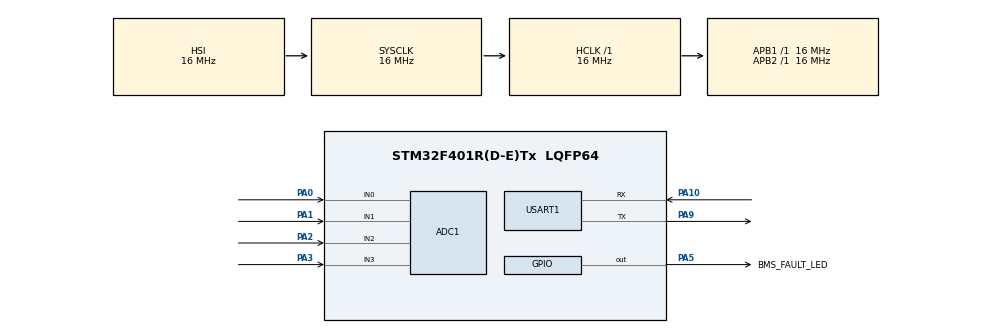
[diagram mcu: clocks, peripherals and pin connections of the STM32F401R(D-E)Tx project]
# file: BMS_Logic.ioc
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ADC1.Channel-1\#ChannelRegularConversion=ADC_CHANNEL_0
ADC1.Channel-2\#ChannelInjectedConversion=ADC_CHANNEL_0
ADC1.Channel-3\#ChannelInjectedConversion=ADC_CHANNEL_0
ADC1.Channel-4\#ChannelInjectedConversion=ADC_CHANNEL_0
ADC1.Channel-5\#ChannelInjectedConversion=ADC_CHANNEL_0
ADC1.ContinuousConvMode=ENABLE
ADC1.EnableAnalogWatchDog=true
ADC1.InjNumberOfConversion=4
ADC1.InjectedOffset-2\#ChannelInjectedConversion=0
ADC1.InjectedOffset-3\#ChannelInjectedConversion=0
ADC1.InjectedOffset-4\#ChannelInjectedConversion=0
ADC1.InjectedOffset-5\#ChannelInjectedConversion=0
ADC1.InjectedRank-2\#ChannelInjectedConversion=1
ADC1.InjectedRank-3\#ChannelInjectedConversion=2
ADC1.InjectedRank-4\#ChannelInjectedConversion=3
ADC1.InjectedRank-5\#ChannelInjectedConversion=4
ADC1.NbrOfConversionFlag=1
ADC1.Rank-1\#ChannelRegularConversion=1
ADC1.SamplingTime-1\#ChannelRegularConversion=ADC_SAMPLETIME_3CYCLES
ADC1.SamplingTime-2\#ChannelInjectedConversion=ADC_SAMPLETIME_3CYCLES
ADC1.SamplingTime-3\#ChannelInjectedConversion=ADC_SAMPLETIME_3CYCLES
ADC1.SamplingTime-4\#ChannelInjectedConversion=ADC_SAMPLETIME_3CYCLES
ADC1.SamplingTime-5\#ChannelInjectedConversion=ADC_SAMPLETIME_3CYCLES
ADC1.master=1
Dma.ADC1.0.Direction=DMA_PERIPH_TO_MEMORY
Dma.ADC1.0.FIFOMode=DMA_FIFOMODE_DISABLE
Dma.ADC1.0.Instance=DMA2_Stream0
Dma.ADC1.0.MemDataAlignment=DMA_MDATAALIGN_HALFWORD
Dma.ADC1.0.MemInc=DMA_MINC_ENABLE
Dma.ADC1.0.Mode=DMA_CIRCULAR
Dma.ADC1.0.PeriphDataAlignment=DMA_PDATAALIGN_HALFWORD
Dma.ADC1.0.PeriphInc=DMA_PINC_DISABLE
Dma.ADC1.0.Priority=DMA_PRIORITY_LOW
Dma.Request0=ADC1
Mcu.Family=STM32F4
Mcu.Name=STM32F401R(D-E)Tx
Mcu.Package=LQFP64
NVIC.DMA2_Stream0_IRQn=true\:0\:0\:false\:false\:true\:false\:true\:true
NVIC.PriorityGroup=NVIC_PRIORITYGROUP_4
NVIC.USART1_IRQn=true\:0\:0\:false\:false\:true\:true\:true\:true
PA0-WKUP.Signal=ADCx_IN0
PA1.Signal=ADCx_IN1
PA10.Mode=Asynchronous
PA10.Signal=USART1_RX
PA2.Signal=ADCx_IN2
PA3.Signal=ADCx_IN3
PA5.GPIO_Label=BMS_FAULT_LED
PA5.Signal=GPIO_Output
PA9.Mode=Asynchronous
PA9.Signal=USART1_TX
ProjectManager.HeapSize=0x200
ProjectManager.StackSize=0x400
ProjectManager.TargetToolchain=STM32CubeIDE
RCC.AHBFreq_Value=16000000
RCC.APB1Freq_Value=16000000
RCC.APB2Freq_Value=16000000
RCC.CortexFreq_Value=16000000
RCC.HSE_VALUE=25000000
RCC.HSI_VALUE=16000000
RCC.LSE_VALUE=32768
RCC.SYSCLKFreq_VALUE=16000000
RCC.VCOOutputFreq_Value=192000000
SH.ADCx_IN0.0=ADC1_IN0,IN0
SH.ADCx_IN1.0=ADC1_IN1,IN1
SH.ADCx_IN2.0=ADC1_IN2,IN2
SH.ADCx_IN3.0=ADC1_IN3,IN3
USART1.VirtualMode=VM_ASYNC
board=custom

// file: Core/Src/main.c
/* USER CODE BEGIN Header */
/**
  ******************************************************************************
  * @file           : main.c
  * @brief          : Main program body
  ******************************************************************************
  * @attention
  *
  * Copyright (c) 2026 STMicroelectronics.
  * All rights reserved.
  *
  * This software is licensed under terms that can be found in the LICENSE file
  * in the root directory of this software component.
  * If no LICENSE file comes with this software, it is provided AS-IS.
  *
  ******************************************************************************
  */
/* USER CODE END Header */
#include "main.h"
#include <stdio.h>

ADC_HandleTypeDef hadc1;
DMA_HandleTypeDef hdma_adc1;

UART_HandleTypeDef huart1;

/* USER CODE BEGIN PV */
uint16_t adc_buffer[4];              // Latest raw data from DMA
uint16_t filter_buffer[4][8];        // History: 4 cells, 8 samples each
uint32_t cell_sums[4] = {0};         // Sum of the 8 samples for each cell
float filtered_voltages[4];          // The clean, final voltage in mV
uint8_t sample_index = 0;            // Keeps track of which "slot" we are filling (0-7)
float battery_temp = 25.0f; // Start at 25 degrees Celsius
uint8_t fault_flag = 0;
/* USER CODE END PV */

void SystemClock_Config(void);
static void MX_GPIO_Init(void);
static void MX_DMA_Init(void);
static void MX_ADC1_Init(void);
static void MX_USART1_UART_Init(void);

int main(void)
{

  /* MCU Configuration--------------------------------------------------------*/

  /* Reset of all peripherals, Initializes the Flash interface and the Systick. */
  HAL_Init();

  /* Configure the system clock */
  SystemClock_Config();

  /* Initialize all configured peripherals */
  MX_GPIO_Init();
  MX_DMA_Init();
  MX_ADC1_Init();
  MX_USART1_UART_Init();
  /* USER CODE BEGIN 2 */
  HAL_ADC_Start_DMA(&hadc1, (uint32_t*)adc_buffer, 4);
  /* USER CODE END 2 */

  /* Infinite loop */
  /* USER CODE BEGIN WHILE */

  while (1)
  {
	  // 1. Update the Filter History
	      for (int cell = 0; cell < 4; cell++) {
	          // Subtract the OLDEST sample from the sum before replacing it
	          cell_sums[cell] -= filter_buffer[cell][sample_index];

	          // Put the NEWEST sample from the ADC into the history
	          filter_buffer[cell][sample_index] = adc_buffer[cell];

	          // Add the NEWEST sample to the sum
	          cell_sums[cell] += filter_buffer[cell][sample_index];

	          // 2. Calculate the Average and Convert to mV
	          // (Sum / 8) gives the average counts. Then convert to mV.
	          float average_counts = (float)cell_sums[cell] / 8.0f;
	          filtered_voltages[cell] = (average_counts * 3300.0f) / 4095.0f;
	      }

	      // 3. Move the index to the next slot (0 to 7, then back to 0)
	      sample_index++;
	      if (sample_index >= 8) {
	          sample_index = 0;
	      }

	      // --- We will do the Fault Logic check next ---
	      HAL_Delay(10); // Faster sampling for the filter
	      // 4. PROTECTION LOGIC (Task 2.1C)
	          uint8_t current_fault = 0; // Start by assuming everything is OK

	          for (int i = 0; i < 4; i++) {
	              // Over-Voltage (> 4200mV) OR Under-Voltage (< 3000mV)
	              if (filtered_voltages[i] > 4200 || filtered_voltages[i] < 3000) {
	                  current_fault = 1; // Mark that we found a problem
	              }
	          }

	          // 5. ACTION: Control the Safety LED/Switch (PA5)
	          if (current_fault == 1) {
	              // DANGER: Turn OFF the output (Logic 0)
	              HAL_GPIO_WritePin(GPIOA, GPIO_PIN_5, GPIO_PIN_RESET);
	              fault_flag = 1; // Latch the fault so it stays off
	          } else {
	              // OK: Only turn ON if no previous fault is latched
	              if (fault_flag == 0) {
	                  HAL_GPIO_WritePin(GPIOA, GPIO_PIN_5, GPIO_PIN_SET);
	              }
	          }
	          // 6. TEMPERATURE SIMULATION (Task 2.1B)
	              // Normally we'd use HAL_I2C_Master_Receive here.
	              // We will just slowly increment temperature to simulate a working system.
	              battery_temp += 0.1f;
	              if (battery_temp > 50.0f) battery_temp = 25.0f; // Reset after it gets hot

	              // Check Over-Temperature (> 45.0 C)
	              if (battery_temp > 45.0f) {
	                  fault_flag = 1;
	                  HAL_GPIO_WritePin(GPIOA, GPIO_PIN_5, GPIO_PIN_RESET);
	          }
	              // 7. UART TELEMETRY (Task 2.1D)
	              char msg[150];
	              // We cast battery_temp to (int) to avoid float formatting issues
	              int len = sprintf(msg, "CELL_mV: %d %d %d %d | TEMP_C: %d | STATE: %s\r\n",
	                        (int)filtered_voltages[0], (int)filtered_voltages[1],
	                        (int)filtered_voltages[2], (int)filtered_voltages[3],
	                        (int)battery_temp, (fault_flag ? "FAULT" : "OK"));

	              HAL_UART_Transmit(&huart1, (uint8_t*)msg, len, 100);
	              // 8. COMMAND LISTENER (Task 2.1D)
	                  uint8_t rx_byte;
	                  // Check if the computer sent a character (Non-blocking check)
	                  if (HAL_UART_Receive(&huart1, &rx_byte, 1, 10) == HAL_OK) {
	                      if (rx_byte == 'R' || rx_byte == 'r') {
	                          // Attempt RESET: Only clear if current conditions are safe
	                          if (current_fault == 0) {
	                              fault_flag = 0;
	                          }
	                      }
	                      else if (rx_byte == 'F' || rx_byte == 'f') {
	                          // INJECT FAULT: Manually trigger protection for testing
	                          fault_flag = 1;
	                          HAL_GPIO_WritePin(GPIOA, GPIO_PIN_5, GPIO_PIN_RESET);
	                      }
	                      else if (rx_byte == 'S' || rx_byte == 's') {
	                          // PRINT IMMEDIATE SUMMARY
	                          HAL_UART_Transmit(&huart1, (uint8_t*)"[BMS STATUS REQUESTED]\r\n", 24, 100);
	                      }
	                  }
    /* USER CODE END WHILE */

  }
}

void SystemClock_Config(void)
{
  RCC_OscInitTypeDef RCC_OscInitStruct = {0};
  RCC_ClkInitTypeDef RCC_ClkInitStruct = {0};

  /** Configure the main internal regulator output voltage
  */
  __HAL_RCC_PWR_CLK_ENABLE();
  __HAL_PWR_VOLTAGESCALING_CONFIG(PWR_REGULATOR_VOLTAGE_SCALE2);

  /** Initializes the RCC Oscillators according to the specified parameters
  * in the RCC_OscInitTypeDef structure.
  */
  RCC_OscInitStruct.OscillatorType = RCC_OSCILLATORTYPE_HSI;
  RCC_OscInitStruct.HSIState = RCC_HSI_ON;
  RCC_OscInitStruct.HSICalibrationValue = RCC_HSICALIBRATION_DEFAULT;
  RCC_OscInitStruct.PLL.PLLState = RCC_PLL_NONE;
  if (HAL_RCC_OscConfig(&RCC_OscInitStruct) != HAL_OK)
  {
    Error_Handler();
  }

  /** Initializes the CPU, AHB and APB buses clocks
  */
  RCC_ClkInitStruct.ClockType = RCC_CLOCKTYPE_HCLK|RCC_CLOCKTYPE_SYSCLK
                              |RCC_CLOCKTYPE_PCLK1|RCC_CLOCKTYPE_PCLK2;
  RCC_ClkInitStruct.SYSCLKSource = RCC_SYSCLKSOURCE_HSI;
  RCC_ClkInitStruct.AHBCLKDivider = RCC_SYSCLK_DIV1;
  RCC_ClkInitStruct.APB1CLKDivider = RCC_HCLK_DIV1;
  RCC_ClkInitStruct.APB2CLKDivider = RCC_HCLK_DIV1;

  if (HAL_RCC_ClockConfig(&RCC_ClkInitStruct, FLASH_LATENCY_0) != HAL_OK)
  {
    Error_Handler();
  }
}

static void MX_ADC1_Init(void)
{

  ADC_AnalogWDGConfTypeDef AnalogWDGConfig = {0};
  ADC_ChannelConfTypeDef sConfig = {0};
  ADC_InjectionConfTypeDef sConfigInjected = {0};

  /** Configure the global features of the ADC (Clock, Resolution, Data Alignment and number of conversion)
  */
  hadc1.Instance = ADC1;
  hadc1.Init.ClockPrescaler = ADC_CLOCK_SYNC_PCLK_DIV2;
  hadc1.Init.Resolution = ADC_RESOLUTION_12B;
  hadc1.Init.ScanConvMode = ENABLE;
  hadc1.Init.ContinuousConvMode = ENABLE;
  hadc1.Init.DiscontinuousConvMode = DISABLE;
  hadc1.Init.ExternalTrigConvEdge = ADC_EXTERNALTRIGCONVEDGE_NONE;
  hadc1.Init.ExternalTrigConv = ADC_SOFTWARE_START;
  hadc1.Init.DataAlign = ADC_DATAALIGN_RIGHT;
  hadc1.Init.NbrOfConversion = 1;
  hadc1.Init.DMAContinuousRequests = DISABLE;
  hadc1.Init.EOCSelection = ADC_EOC_SINGLE_CONV;
  if (HAL_ADC_Init(&hadc1) != HAL_OK)
  {
    Error_Handler();
  }

  /** Configure the analog watchdog
  */
  AnalogWDGConfig.WatchdogMode = ADC_ANALOGWATCHDOG_SINGLE_REG;
  AnalogWDGConfig.HighThreshold = 0;
  AnalogWDGConfig.LowThreshold = 0;
  AnalogWDGConfig.Channel = ADC_CHANNEL_0;
  AnalogWDGConfig.ITMode = DISABLE;
  if (HAL_ADC_AnalogWDGConfig(&hadc1, &AnalogWDGConfig) != HAL_OK)
  {
    Error_Handler();
  }

  /** Configure for the selected ADC regular channel its corresponding rank in the sequencer and its sample time.
  */
  sConfig.Channel = ADC_CHANNEL_0;
  sConfig.Rank = 1;
  sConfig.SamplingTime = ADC_SAMPLETIME_3CYCLES;
  if (HAL_ADC_ConfigChannel(&hadc1, &sConfig) != HAL_OK)
  {
    Error_Handler();
  }

  /** Configures for the selected ADC injected channel its corresponding rank in the sequencer and its sample time
  */
  sConfigInjected.InjectedChannel = ADC_CHANNEL_0;
  sConfigInjected.InjectedRank = 1;
  sConfigInjected.InjectedNbrOfConversion = 4;
  sConfigInjected.InjectedSamplingTime = ADC_SAMPLETIME_3CYCLES;
  sConfigInjected.ExternalTrigInjecConvEdge = ADC_EXTERNALTRIGINJECCONVEDGE_NONE;
  sConfigInjected.ExternalTrigInjecConv = ADC_INJECTED_SOFTWARE_START;
  sConfigInjected.AutoInjectedConv = DISABLE;
  sConfigInjected.InjectedDiscontinuousConvMode = DISABLE;
  sConfigInjected.InjectedOffset = 0;
  if (HAL_ADCEx_InjectedConfigChannel(&hadc1, &sConfigInjected) != HAL_OK)
  {
    Error_Handler();
  }

  /** Configures for the selected ADC injected channel its corresponding rank in the sequencer and its sample time
  */
  sConfigInjected.InjectedRank = 2;
  if (HAL_ADCEx_InjectedConfigChannel(&hadc1, &sConfigInjected) != HAL_OK)
  {
    Error_Handler();
  }

  /** Configures for the selected ADC injected channel its corresponding rank in the sequencer and its sample time
  */
  sConfigInjected.InjectedRank = 3;
  if (HAL_ADCEx_InjectedConfigChannel(&hadc1, &sConfigInjected) != HAL_OK)
  {
    Error_Handler();
  }

  /** Configures for the selected ADC injected channel its corresponding rank in the sequencer and its sample time
  */
  sConfigInjected.InjectedRank = 4;
  if (HAL_ADCEx_InjectedConfigChannel(&hadc1, &sConfigInjected) != HAL_OK)
  {
    Error_Handler();
  }

}

static void MX_USART1_UART_Init(void)
{

  huart1.Instance = USART1;
  huart1.Init.BaudRate = 115200;
  huart1.Init.WordLength = UART_WORDLENGTH_8B;
  huart1.Init.StopBits = UART_STOPBITS_1;
  huart1.Init.Parity = UART_PARITY_NONE;
  huart1.Init.Mode = UART_MODE_TX_RX;
  huart1.Init.HwFlowCtl = UART_HWCONTROL_NONE;
  huart1.Init.OverSampling = UART_OVERSAMPLING_16;
  if (HAL_UART_Init(&huart1) != HAL_OK)
  {
    Error_Handler();
  }

}

static void MX_DMA_Init(void)
{

  /* DMA controller clock enable */
  __HAL_RCC_DMA2_CLK_ENABLE();

  /* DMA interrupt init */
  /* DMA2_Stream0_IRQn interrupt configuration */
  HAL_NVIC_SetPriority(DMA2_Stream0_IRQn, 0, 0);
  HAL_NVIC_EnableIRQ(DMA2_Stream0_IRQn);

}

static void MX_GPIO_Init(void)
{
  GPIO_InitTypeDef GPIO_InitStruct = {0};

  /* GPIO Ports Clock Enable */
  __HAL_RCC_GPIOA_CLK_ENABLE();

  /*Configure GPIO pin Output Level */
  HAL_GPIO_WritePin(BMS_FAULT_LED_GPIO_Port, BMS_FAULT_LED_Pin, GPIO_PIN_RESET);

  /*Configure GPIO pin : BMS_FAULT_LED_Pin */
  GPIO_InitStruct.Pin = BMS_FAULT_LED_Pin;
  GPIO_InitStruct.Mode = GPIO_MODE_OUTPUT_PP;
  GPIO_InitStruct.Pull = GPIO_NOPULL;
  GPIO_InitStruct.Speed = GPIO_SPEED_FREQ_LOW;
  HAL_GPIO_Init(BMS_FAULT_LED_GPIO_Port, &GPIO_InitStruct);

}

/* USER CODE BEGIN 4 */

void HAL_SYSTICK_Callback(void)
{
    // This runs every 1ms - satisfying the <10ms response requirement
    static uint16_t tick_count = 0;
    tick_count++;

    // Check protection every 5ms
    if (tick_count % 5 == 0) {
        for (int i = 0; i < 4; i++) {
            if (filtered_voltages[i] > 4200 || filtered_voltages[i] < 3000 || battery_temp > 45.0f) {
                // FAULT! De-assert GPIO immediately
                HAL_GPIO_WritePin(GPIOA, GPIO_PIN_5, GPIO_PIN_RESET);
                fault_flag = 1;
            }
        }
    }
}
/* USER CODE END 4 */

void Error_Handler(void)
{
  __disable_irq();
  while (1)
  {
  }
}
